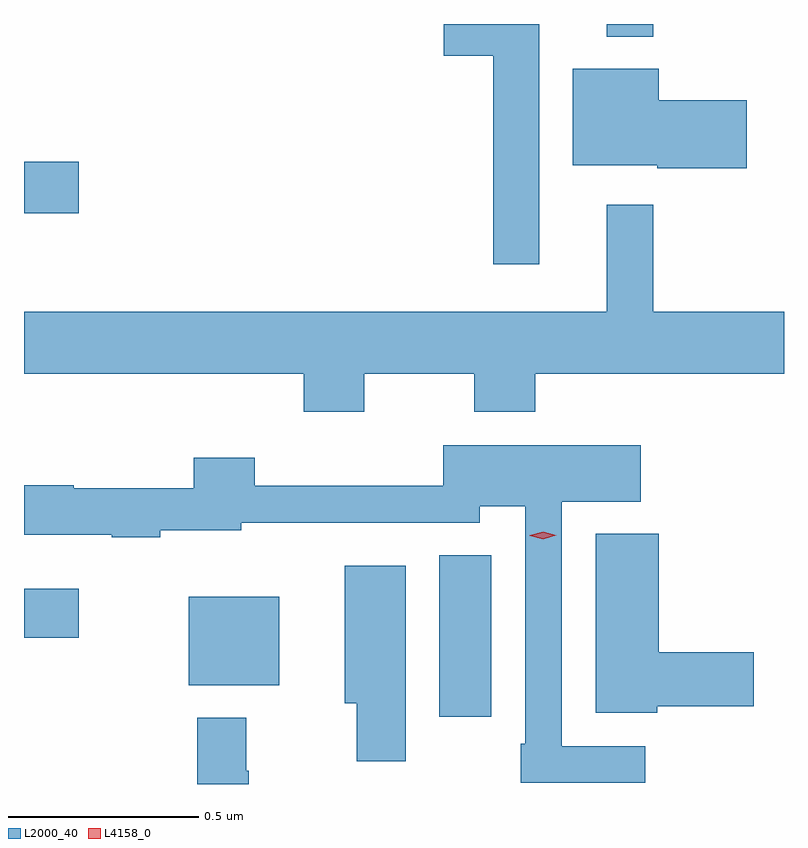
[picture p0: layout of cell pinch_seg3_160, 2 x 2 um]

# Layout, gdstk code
import gdstk
lib = gdstk.Library(unit=1e-6, precision=1e-09)
def R(c, l, rs):  # rectangles x0, y0, x1, y1
    for r in rs: c.add(gdstk.rectangle(r[:2], r[2:], *l))
def P(c, l, *ps):  # polygons
    for p in ps: c.add(gdstk.Polygon(p, *l))
L2000_40 = (2000, 40)
L4158_0 = (4158, 0)

pinch_seg3_160 = lib.new_cell('pinch_seg3_160')
R(pinch_seg3_160, L2000_40, [(1107.74,722.658,1107.877,723.083), (1107.08,722.741,1107.319,722.974), (1106.647,722.866,1106.791,722.995), (1106.647,723.983,1106.791,724.118), (1108.181,724.448,1108.303,724.481)])
P(pinch_seg3_160, L2000_40, [(1108.003,724.481),(1107.752,724.481),(1107.752,724.397),(1107.882,724.397),(1107.882,723.849),(1108.003,723.849)],
  [(1108.549,724.28),(1108.318,724.28),(1108.318,724.363),(1108.091,724.363),(1108.091,724.109),(1108.314,724.109),(1108.314,724.102),(1108.549,724.102)],
  [(1107.543,723.56),(1107.832,723.56),(1107.832,723.461),(1107.992,723.461),(1107.992,723.56),(1108.647,723.56),(1108.647,723.724),(1108.303,723.724),(1108.303,724.006),(1108.181,724.006),(1108.181,723.724),(1106.647,723.724),(1106.647,723.56),(1107.383,723.56),(1107.383,723.461),(1107.543,723.461)],
  [(1108.282,722.58),(1108.062,722.58),(1108.062,723.224),(1108.27,723.224),(1108.27,723.373),(1107.75,723.373),(1107.75,723.266),(1107.254,723.266),(1107.254,723.34),(1107.094,723.34),(1107.094,723.259),(1106.778,723.259),(1106.778,723.267),(1106.647,723.267),(1106.647,723.137),(1106.878,723.137),(1106.878,723.13),(1107.005,723.13),(1107.005,723.149),(1107.219,723.149),(1107.219,723.168),(1107.846,723.168),(1107.846,723.212),(1107.966,723.212),(1107.966,722.587),(1107.954,722.587),(1107.954,722.484),(1108.282,722.484)],
  [(1108.314,722.686),(1108.567,722.686),(1108.567,722.828),(1108.318,722.828),(1108.318,723.139),(1108.151,723.139),(1108.151,722.669),(1108.314,722.669)],
  [(1107.652,723.055),(1107.491,723.055),(1107.491,722.693),(1107.523,722.693),(1107.523,722.541),(1107.652,722.541)],
  [(1107.239,722.516),(1107.232,722.516),(1107.232,722.656),(1107.103,722.656),(1107.103,722.481),(1107.239,722.481)])
P(pinch_seg3_160, L4158_0, [(1108.013,723.125),(1107.978,723.134),(1107.978,723.135),(1107.978,723.135),(1108.013,723.145),(1108.048,723.136),(1108.048,723.136),(1108.048,723.136)])

lib.write_gds('pinch_seg3_160.gds')
